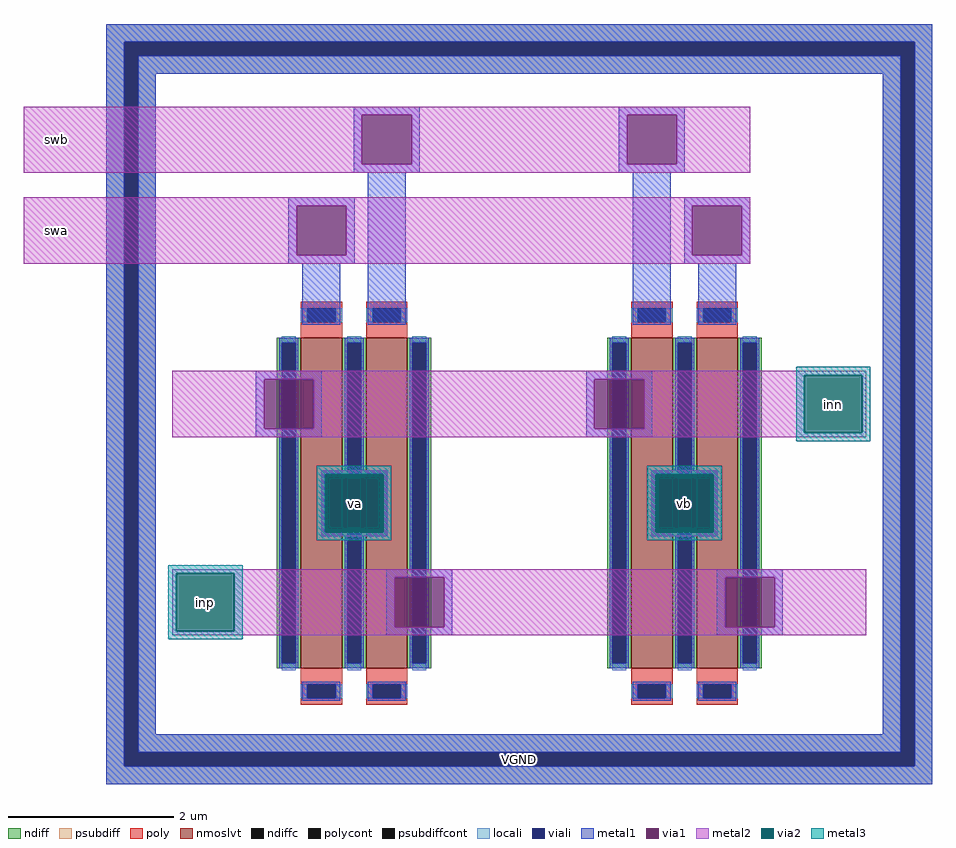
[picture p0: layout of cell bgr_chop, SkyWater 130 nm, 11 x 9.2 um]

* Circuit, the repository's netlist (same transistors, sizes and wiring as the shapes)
* bgr_chop: layout-only cell for a standalone LVS. The four device lines are copied unchanged from the frozen bgr top
* level in ../xschem/simulation/bgr.spice (sha256 dc656f11...); only the subckt wrapper is added.
.subckt bgr_chop va vb inn inp swa swb VGND
XS1 va swa inn VGND sky130_fd_pr__nfet_01v8_lvt L=0.5 W=4 nf=1 ad=1.16 as=1.16 pd=8.58 ps=8.58 nrd=0.0725 nrs=0.0725 sa=0 sb=0
+ sd=0 mult=1
XS2 vb swa inp VGND sky130_fd_pr__nfet_01v8_lvt L=0.5 W=4 nf=1 ad=1.16 as=1.16 pd=8.58 ps=8.58 nrd=0.0725 nrs=0.0725 sa=0 sb=0
+ sd=0 mult=1
XS3 va swb inp VGND sky130_fd_pr__nfet_01v8_lvt L=0.5 W=4 nf=1 ad=1.16 as=1.16 pd=8.58 ps=8.58 nrd=0.0725 nrs=0.0725 sa=0 sb=0
+ sd=0 mult=1
XS4 vb swb inn VGND sky130_fd_pr__nfet_01v8_lvt L=0.5 W=4 nf=1 ad=1.16 as=1.16 pd=8.58 ps=8.58 nrd=0.0725 nrs=0.0725 sa=0 sb=0
+ sd=0 mult=1
.ends

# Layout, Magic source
magic
tech sky130A
magscale 1 2
<< psubdiff >>
rect 0 1797 2000 1840
rect 0 43 43 1797
rect 77 1720 1923 1763
rect 77 120 120 1720
rect 1880 120 1923 1720
rect 77 77 1923 120
rect 1957 43 2000 1797
rect 0 0 2000 43
<< psubdiffcont >>
rect 43 1763 1957 1797
rect 43 77 77 1763
rect 1923 77 1957 1763
rect 43 43 1957 77
<< locali >>
rect 0 1797 2000 1840
rect 0 43 43 1797
rect 77 1720 1923 1763
rect 77 120 120 1720
rect 1880 120 1923 1720
rect 77 77 1923 120
rect 1957 43 2000 1797
rect 0 0 2000 43
<< viali >>
rect 43 1763 1957 1797
rect 43 77 77 1763
rect 1923 77 1957 1763
rect 43 43 1957 77
<< metal1 >>
rect 0 1797 2000 1840
rect 0 43 43 1797
rect 77 1720 1923 1763
rect 77 120 120 1720
rect 599 1620 759 1640
rect 599 1500 619 1620
rect 739 1500 759 1620
rect 599 1480 759 1500
rect 1241 1620 1401 1640
rect 1241 1500 1261 1620
rect 1381 1500 1401 1620
rect 1241 1480 1401 1500
rect 441 1400 601 1420
rect 441 1280 461 1400
rect 581 1280 601 1400
rect 441 1260 601 1280
rect 475 1112 567 1260
rect 633 1112 725 1480
rect 1275 1112 1367 1480
rect 1399 1400 1559 1420
rect 1399 1280 1419 1400
rect 1539 1280 1559 1400
rect 1399 1260 1559 1280
rect 1433 1112 1525 1260
rect 362 980 522 1000
rect 362 860 382 980
rect 502 860 522 980
rect 362 840 522 860
rect 1162 980 1322 1000
rect 1162 860 1182 980
rect 1302 860 1322 980
rect 1162 840 1322 860
rect 520 740 680 760
rect 520 620 540 740
rect 660 620 680 740
rect 520 600 680 620
rect 1320 740 1480 760
rect 1320 620 1340 740
rect 1460 620 1480 740
rect 1320 600 1480 620
rect 678 500 838 520
rect 678 380 698 500
rect 818 380 838 500
rect 678 360 838 380
rect 1478 500 1638 520
rect 1478 380 1498 500
rect 1618 380 1638 500
rect 1478 360 1638 380
rect 1880 120 1923 1720
rect 77 77 1923 120
rect 1957 43 2000 1797
rect 0 0 2000 43
<< via1 >>
rect 619 1500 739 1620
rect 1261 1500 1381 1620
rect 461 1280 581 1400
rect 1419 1280 1539 1400
rect 382 860 502 980
rect 1182 860 1302 980
rect 540 620 660 740
rect 1340 620 1460 740
rect 698 380 818 500
rect 1498 380 1618 500
<< metal2 >>
rect -200 1620 1559 1640
rect -200 1500 619 1620
rect 739 1500 1261 1620
rect 1381 1500 1559 1620
rect -200 1480 1559 1500
rect -200 1400 1559 1420
rect -200 1280 461 1400
rect 581 1280 1419 1400
rect 1539 1280 1559 1400
rect -200 1260 1559 1280
rect 160 990 1840 1000
rect 160 980 1690 990
rect 160 860 382 980
rect 502 860 1182 980
rect 1302 860 1690 980
rect 160 850 1690 860
rect 1830 850 1840 990
rect 160 840 1840 850
rect 520 750 680 760
rect 520 610 530 750
rect 670 610 680 750
rect 520 600 680 610
rect 1320 750 1480 760
rect 1320 610 1330 750
rect 1470 610 1480 750
rect 1320 600 1480 610
rect 160 510 1840 520
rect 160 370 170 510
rect 310 500 1840 510
rect 310 380 698 500
rect 818 380 1498 500
rect 1618 380 1840 500
rect 310 370 1840 380
rect 160 360 1840 370
<< via2 >>
rect 1690 850 1830 990
rect 530 740 670 750
rect 530 620 540 740
rect 540 620 660 740
rect 660 620 670 740
rect 530 610 670 620
rect 1330 740 1470 750
rect 1330 620 1340 740
rect 1340 620 1460 740
rect 1460 620 1470 740
rect 1330 610 1470 620
rect 170 370 310 510
<< metal3 >>
rect 1670 990 1850 1010
rect 1670 850 1690 990
rect 1830 850 1850 990
rect 1670 830 1850 850
rect 510 750 690 770
rect 510 610 530 750
rect 670 610 690 750
rect 510 590 690 610
rect 1310 750 1490 770
rect 1310 610 1330 750
rect 1470 610 1490 750
rect 1310 590 1490 610
rect 150 510 330 530
rect 150 370 170 510
rect 310 370 330 510
rect 150 350 330 370
use sky130_fd_pr__nfet_01v8_lvt_MGHACW  XVA
transform 1 0 600 0 1 680
box -187 -488 187 488
use sky130_fd_pr__nfet_01v8_lvt_MGHACW  XVB
transform 1 0 1400 0 1 680
box -187 -488 187 488
<< labels >>
rlabel metal3 510 590 690 770 0 va
port 1 nsew
rlabel metal3 1310 590 1490 770 0 vb
port 2 nsew
rlabel metal3 1670 830 1850 1010 0 inn
port 3 nsew
rlabel metal3 150 350 330 530 0 inp
port 4 nsew
rlabel metal2 -200 1260 -40 1420 0 swa
port 5 nsew
rlabel metal2 -200 1480 -40 1640 0 swb
port 6 nsew
rlabel metal1 900 0 1100 120 0 VGND
port 7 nsew
<< end >>

# cell sky130_fd_pr__nfet_01v8_lvt_MGHACW: kit device sky130_fd_pr__nfet_01v8_lvt, w 4 l 0.5 m 1 nf 2 diffcov 100 polycov 100 guard 0 glc 1 grc 1 gtc 1 gbc 1 tbcov 100 rlcov 100 topc 1 botc 1 poverlap 0 doverlap 1 lmin 0.15 wmin 0.42 class mosfet compatible {sky130_fd_pr__nfet_01v8 sky130_fd_pr__nfet_01v8_lvt sky130_fd_bs_flash__special_sonosfet_star sky130_fd_pr__nfet_g5v0d10v5 sky130_fd_pr__nfet_05v0_nvt sky130_fd_pr__nfet_03v3_nvt} full_metal 1 conn_gates 0 viasrc 100 viadrn 100 viagate 100 viagb 0 viagr 0 viagl 0 viagt 0 doports 1
